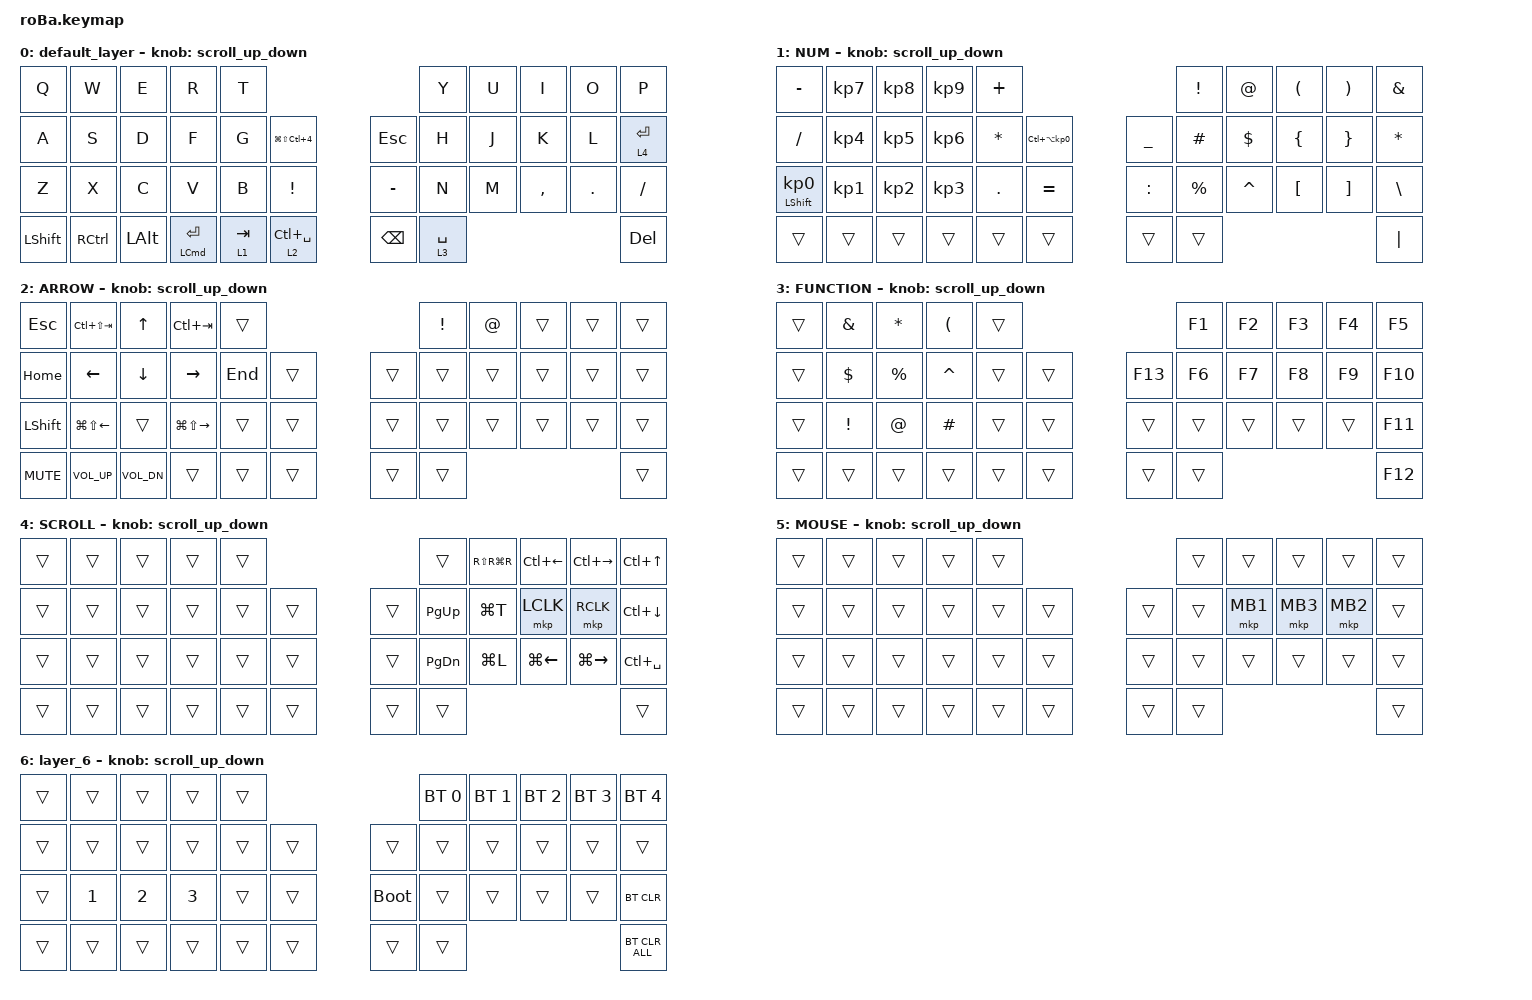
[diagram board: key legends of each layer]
#include <behaviors.dtsi>
#include <dt-bindings/zmk/bt.h>
#include <dt-bindings/zmk/keys.h>
#include <dt-bindings/zmk/pointing.h>

#define ZMK_POINTING_DEFAULT_SCRL_VAL 100

&mt {
    flavor = "balanced";
    quick-tap-ms = <0>;
};

&trackball {
    //automouse-layer = <4>;

    scroll-layers = <5>;

    // arrows {
    //     layers = <3>;
    //     bindings =
    //         <&kp RIGHT_ARROW>,
    //         <&kp LEFT_ARROW>,
    //         <&kp UP_ARROW>,
    //         <&kp DOWN_ARROW>;
    //     tick = <10>;
    //     wait-ms = <5>;
    //     tap-ms = <5>;
    // };
};

/ {
    combos {
        compatible = "zmk,combos";

        tab {
            bindings = <&kp TAB>;
            key-positions = <11 12>;
        };

        shift_tab {
            bindings = <&kp LS(TAB)>;
            key-positions = <12 13>;
        };

        muhennkann {
            bindings = <&to_layer_0 INT_MUHENKAN>;
            key-positions = <11 10>;
        };

        double_quotation {
            bindings = <&kp DOUBLE_QUOTES>;
            key-positions = <20 21>;
        };

        eq {
            bindings = <&kp EQUAL>;
            key-positions = <24 25>;
        };
    };

    macros {
        to_layer_0: to_layer_0 {
            compatible = "zmk,behavior-macro-one-param";
            #binding-cells = <1>;
            bindings = <&to 0 &macro_param_1to1 &kp MACRO_PLACEHOLDER>;
            label = "TO_LAYER_0";
        };
    };

    behaviors {
        // 1つ目の設定

        lt_to_layer_0: lt_to_layer_0 {
            compatible = "zmk,behavior-hold-tap";
            label = "LAYER_TAP_TO_0";
            bindings = <&mo>, <&to_layer_0>;

            #binding-cells = <2>;
            tapping-term-ms = <200>;
        };

        // ↑ ここにあった「};」を消しました（まだbehaviorsを閉じない！）
        // 2つ目の設定（これもしっかり中に入れる）

        scroll_up_down: behavior_sensor_rotate_mouse_wheel_up_down {
            compatible = "zmk,behavior-sensor-rotate";
            #sensor-binding-cells = <0>;
            bindings = <&msc SCRL_UP>, <&msc SCRL_DOWN>;

            // 追加: スクロールのタップ時間を設定 (20ms)

            tap-ms = <20>;
        };
    }; // ← ✅ 最後にここで behaviors を閉じます
    keymap {
        compatible = "zmk,keymap";

        default_layer {
            bindings = <
&kp Q           &kp W              &kp E         &kp R           &kp T                                                                &kp Y                   &kp U  &kp I      &kp O       &kp P
&kp A           &kp S              &kp D         &kp F           &kp G                 &kp LG(LS(LC(NUMBER_4)))        &kp ESC        &kp H                   &kp J  &kp K      &kp L       &lt_to_layer_0 4 ENTER
&kp Z           &kp X              &kp C         &kp V           &kp B                 &kp EXCLAMATION                 &kp MINUS      &kp N                   &kp M  &kp COMMA  &kp PERIOD  &kp SLASH
&kp LEFT_SHIFT  &kp RIGHT_CONTROL  &kp LEFT_ALT  &mt LCMD ENTER  &lt_to_layer_0 1 TAB  &lt_to_layer_0 2 LC(SPACE)      &kp BACKSPACE  &lt_to_layer_0 3 SPACE                                &kp DELETE
            >;

            sensor-bindings = <&scroll_up_down>;
        };

        NUM {
            bindings = <
&kp MINUS                   &kp KP_NUMBER_7  &kp KP_NUMBER_8  &kp KP_NUMBER_9  &kp PLUS                                                   &kp EXCLAMATION  &kp AT_SIGN  &kp LEFT_PARENTHESIS  &kp RIGHT_PARENTHESIS  &kp AMPERSAND
&kp SLASH                   &kp KP_NUMBER_4  &kp KP_NUMBER_5  &kp KP_NUMBER_6  &kp ASTERISK  &kp LC(LA(KP_NUMBER_0))      &kp UNDERSCORE  &kp HASH         &kp DOLLAR   &kp LEFT_BRACE        &kp RIGHT_BRACE        &kp ASTERISK
&mt LEFT_SHIFT KP_NUMBER_0  &kp KP_NUMBER_1  &kp KP_NUMBER_2  &kp KP_NUMBER_3  &kp PERIOD    &kp EQUAL                    &kp COLON       &kp PERCENT      &kp CARET    &kp LEFT_BRACKET      &kp RIGHT_BRACKET      &kp BACKSLASH
&trans                      &trans           &trans           &trans           &trans        &trans                       &trans          &trans                                                                     &kp PIPE
            >;

            sensor-bindings = <&scroll_up_down>;
        };

        ARROW {
            bindings = <
&kp ESCAPE      &kp LC(LS(TAB))         &kp UP_ARROW    &kp LC(TAB)              &trans                       &kp EXCLAMATION  &kp AT_SIGN  &trans  &trans  &trans
&kp HOME        &kp LEFT_ARROW          &kp DOWN_ARROW  &kp RIGHT_ARROW          &kp END  &trans      &trans  &trans           &trans       &trans  &trans  &trans
&kp LEFT_SHIFT  &kp LG(LS(LEFT_ARROW))  &trans          &kp LG(LS(RIGHT_ARROW))  &trans   &trans      &trans  &trans           &trans       &trans  &trans  &trans
&kp K_MUTE      &kp C_VOLUME_UP         &kp C_VOL_DN    &trans                   &trans   &trans      &trans  &trans                                        &trans
            >;

            sensor-bindings = <&scroll_up_down>;
        };

        FUNCTION {
            bindings = <
&trans  &kp AMPERSAND    &kp ASTERISK  &kp LEFT_PARENTHESIS  &trans                       &kp F1  &kp F2  &kp F3  &kp F4  &kp F5
&trans  &kp DOLLAR       &kp PERCENT   &kp CARET             &trans  &trans      &kp F13  &kp F6  &kp F7  &kp F8  &kp F9  &kp F10
&trans  &kp EXCLAMATION  &kp AT_SIGN   &kp HASH              &trans  &trans      &trans   &trans  &trans  &trans  &trans  &kp F11
&trans  &trans           &trans        &trans                &trans  &trans      &trans   &trans                          &kp F12
            >;

            sensor-bindings = <&scroll_up_down>;
        };

        SCROLL {
            bindings = <
&trans  &trans  &trans  &trans  &trans                      &trans         &kp RS(RG(R))  &kp LC(LEFT_ARROW)  &kp LC(RIGHT)  &kp LC(UP)
&trans  &trans  &trans  &trans  &trans  &trans      &trans  &kp PAGE_UP    &kp LG(T)      &mkp LCLK           &mkp RCLK      &kp LC(DOWN)
&trans  &trans  &trans  &trans  &trans  &trans      &trans  &kp PAGE_DOWN  &kp LG(L)      &kp LG(LEFT)        &kp LG(RIGHT)  &kp LC(SPACE)
&trans  &trans  &trans  &trans  &trans  &trans      &trans  &trans                                                           &trans
            >;

            sensor-bindings = <&scroll_up_down>;
        };

        MOUSE {
            bindings = <
&trans  &trans  &trans  &trans  &trans                      &trans  &trans    &trans    &trans    &trans
&trans  &trans  &trans  &trans  &trans  &trans      &trans  &trans  &mkp MB1  &mkp MB3  &mkp MB2  &trans
&trans  &trans  &trans  &trans  &trans  &trans      &trans  &trans  &trans    &trans    &trans    &trans
&trans  &trans  &trans  &trans  &trans  &trans      &trans  &trans                                &trans
            >;

            sensor-bindings = <&scroll_up_down>;
        };

        layer_6 {
            bindings = <
&trans  &trans        &trans        &trans        &trans                           &bt BT_SEL 0  &bt BT_SEL 1  &bt BT_SEL 2  &bt BT_SEL 3  &bt BT_SEL 4
&trans  &trans        &trans        &trans        &trans  &trans      &trans       &trans        &trans        &trans        &trans        &trans
&trans  &kp NUMBER_1  &kp NUMBER_2  &kp NUMBER_3  &trans  &trans      &bootloader  &trans        &trans        &trans        &trans        &bt BT_CLR
&trans  &trans        &trans        &trans        &trans  &trans      &trans       &trans                                                  &bt BT_CLR_ALL
            >;

            sensor-bindings = <&scroll_up_down>;
        };
    };
};
